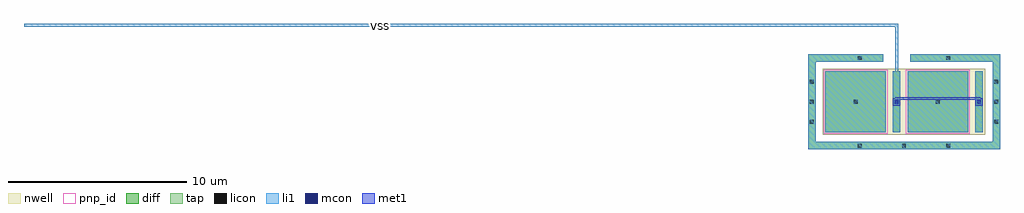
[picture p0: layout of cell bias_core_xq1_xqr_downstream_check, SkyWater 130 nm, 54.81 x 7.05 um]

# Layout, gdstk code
import gdstk
lib = gdstk.Library(unit=1e-6, precision=1e-09)
def R(c, l, rs):  # rectangles x0, y0, x1, y1
    for r in rs: c.add(gdstk.rectangle(r[:2], r[2:], *l))
def A(c, l, x, y, w, h, nx, ny, dx, dy):  # array of equal rectangles
    R(c, l, [(x+i*dx, y+j*dy, x+i*dx+w, y+j*dy+h) for i in range(nx) for j in range(ny)])
def P(c, l, *ps):  # polygons
    for p in ps: c.add(gdstk.Polygon(p, *l))
nwell = (64, 20)
diff = (65, 20)
tap = (65, 44)
licon = (66, 44)
li1 = (67, 20)
mcon = (67, 44)
met1 = (68, 20)
pnp_id = (82, 44)

stub_vss__promo_stub = lib.new_cell('stub_vss__promo_stub')
R(stub_vss__promo_stub, li1, [(0,0,1.5,0.17)])

bjt_array = lib.new_cell('bjt_array')
R(bjt_array, nwell, [(-0.15,-0.15,8.99,3.55)])
R(bjt_array, diff, [(0,0,3.4,3.4), (3.8,0,4.22,3.4), (4.62,0,8.02,3.4), (8.42,0,8.84,3.4)])
P(bjt_array, diff, [(-0.97,-0.97),(-0.97,4.37),(3.26,4.37),(3.26,3.95),(-0.55,3.95),(-0.55,-0.55),(9.39,-0.55),(9.39,3.95),(4.76,3.95),(4.76,4.37),(9.81,4.37),(9.81,-0.97)])
R(bjt_array, tap, [(3.8,0,4.22,3.4), (8.42,0,8.84,3.4)])
A(bjt_array, licon, 1.825, -0.87, 0.22, 0.22, 3, 1, 2.485, 0)
A(bjt_array, licon, -0.87, 0.465, 0.22, 0.22, 1, 3, 0, 1.125)
A(bjt_array, licon, 9.49, 0.465, 0.22, 0.22, 1, 3, 0, 1.125)
A(bjt_array, licon, 1.59, 1.59, 0.22, 0.22, 4, 1, 2.31, 0)
R(bjt_array, licon, [(1.825,4.05,2.045,4.27), (6.795,4.05,7.015,4.27)])
R(bjt_array, li1, [(0,0,3.4,3.4), (3.8,0,4.22,3.4), (4.62,0,8.02,3.4), (8.42,0,8.84,3.4)])
P(bjt_array, li1, [(-0.97,-0.97),(-0.97,4.37),(3.26,4.37),(3.26,3.95),(-0.55,3.95),(-0.55,-0.55),(9.39,-0.55),(9.39,3.95),(4.76,3.95),(4.76,4.37),(9.81,4.37),(9.81,-0.97)])
R(bjt_array, pnp_id, [(-0.1,-0.1,3.5,3.5), (4.52,-0.1,8.12,3.5)])

array__xq1_xqr = lib.new_cell('array__xq1_xqr')
array__xq1_xqr.add(gdstk.Reference(bjt_array, (0,0)))

sub__bias_core_xq1_xqr = lib.new_cell('sub__bias_core_xq1_xqr')
R(sub__bias_core_xq1_xqr, li1, [(3.8,1.49,4.22,1.91), (8.42,1.49,8.84,1.91), (3.9,1.7,4.12,1.87)])
R(sub__bias_core_xq1_xqr, mcon, [(3.9,1.59,4.12,1.81), (8.52,1.59,8.74,1.81)])
R(sub__bias_core_xq1_xqr, met1, [(3.8,1.49,4.22,1.91), (8.42,1.49,8.84,1.91)])
sub__bias_core_xq1_xqr.add(gdstk.FlexPath([(4.01,1.7),(4.01,6),(-3.5,6)], 0.17, ends="flush", simple_path=True, layer=67, datatype=20))  # li1
sub__bias_core_xq1_xqr.add(gdstk.FlexPath([(4.01,1.7),(4.01,1.87),(8.63,1.87),(8.63,1.7)], 0.14, ends="flush", simple_path=True, layer=68, datatype=20))  # met1
sub__bias_core_xq1_xqr.add(gdstk.Reference(stub_vss__promo_stub, (-5,5.915)))
sub__bias_core_xq1_xqr.add(gdstk.Reference(array__xq1_xqr, (0,0)))
sub__bias_core_xq1_xqr.add(gdstk.Label('vss', (6.32,1.87), layer=68, texttype=5))
sub__bias_core_xq1_xqr.add(gdstk.Label('na', (1.7,1.7), layer=67, texttype=5))
sub__bias_core_xq1_xqr.add(gdstk.Label('er', (6.32,1.7), layer=67, texttype=5))
sub__bias_core_xq1_xqr.add(gdstk.Label('vss', (-5,6), layer=67, texttype=5))

dummy_vss__promo_stub = lib.new_cell('dummy_vss__promo_stub')
R(dummy_vss__promo_stub, li1, [(0,0,1.5,0.17)])

bias_core_xq1_xqr_downst = lib.new_cell('bias_core_xq1_xqr_downstream_check')
bias_core_xq1_xqr_downst.add(gdstk.FlexPath([(-5,6),(-45,6)], 0.17, ends="flush", simple_path=True, layer=67, datatype=20))  # li1
bias_core_xq1_xqr_downst.add(gdstk.Reference(sub__bias_core_xq1_xqr, (0,0)))
bias_core_xq1_xqr_downst.add(gdstk.Reference(dummy_vss__promo_stub, (-45,5.915)))
bias_core_xq1_xqr_downst.add(gdstk.Label('vss', (-25,6), layer=67, texttype=5))

lib.write_gds('bias_core_xq1_xqr_downstream_check.gds')
